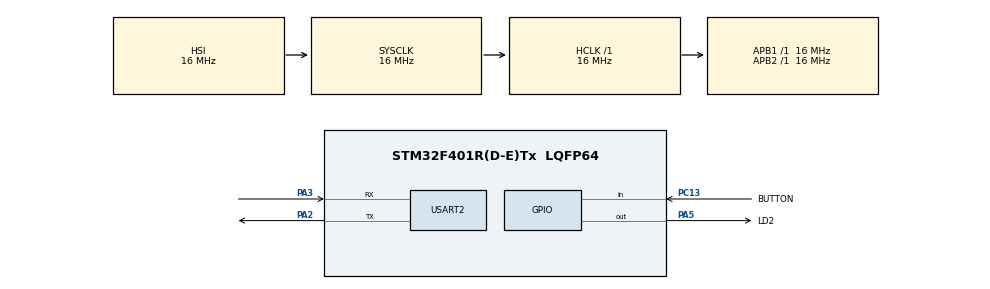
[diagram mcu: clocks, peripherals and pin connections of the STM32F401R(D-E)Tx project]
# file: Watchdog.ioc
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IWDG.Prescaler=IWDG_PRESCALER_32
Mcu.Family=STM32F4
Mcu.Name=STM32F401R(D-E)Tx
Mcu.Package=LQFP64
NVIC.PriorityGroup=NVIC_PRIORITYGROUP_4
PA13.Mode=Serial_Wire
PA13.Signal=SYS_JTMS-SWDIO
PA14.Mode=Serial_Wire
PA14.Signal=SYS_JTCK-SWCLK
PA2.Mode=Asynchronous
PA2.Signal=USART2_TX
PA3.Mode=Asynchronous
PA3.Signal=USART2_RX
PA5.GPIO_Label=LD2
PA5.Signal=GPIO_Output
PC13-ANTI_TAMP.GPIO_Label=BUTTON
PC13-ANTI_TAMP.Signal=GPIO_Input
PC14-OSC32_IN.Mode=LSE-External-Oscillator
PC14-OSC32_IN.Signal=RCC_OSC32_IN
PC15-OSC32_OUT.Mode=LSE-External-Oscillator
PC15-OSC32_OUT.Signal=RCC_OSC32_OUT
ProjectManager.HeapSize=0x200
ProjectManager.StackSize=0x400
ProjectManager.TargetToolchain=STM32CubeIDE
RCC.AHBFreq_Value=16000000
RCC.APB1Freq_Value=16000000
RCC.APB2Freq_Value=16000000
RCC.CortexFreq_Value=16000000
RCC.HSE_VALUE=25000000
RCC.HSI_VALUE=16000000
RCC.RCC_RTC_Clock_Source=RCC_RTCCLKSOURCE_LSE
RCC.SYSCLKFreq_VALUE=16000000
RCC.VCOOutputFreq_Value=192000000
USART2.VirtualMode=VM_ASYNC
VP_IWDG_VS_IWDG.Mode=IWDG_Activate
VP_RTC_VS_RTC_Activate.Mode=RTC_Enabled
board=custom

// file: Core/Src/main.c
/* USER CODE BEGIN Header */
/**
  ******************************************************************************
  * @file           : main.c
  * @brief          : Main program body
  ******************************************************************************
  * @attention
  *
  * Copyright (c) 2023 STMicroelectronics.
  * All rights reserved.
  *
  * This software is licensed under terms that can be found in the LICENSE file
  * in the root directory of this software component.
  * If no LICENSE file comes with this software, it is provided AS-IS.
  *
  ******************************************************************************
  */
/* USER CODE END Header */
#include "main.h"

/* USER CODE BEGIN Includes */
#include <stdio.h>
#include <string.h>
#include <stdbool.h>
/* USER CODE END Includes */

IWDG_HandleTypeDef hiwdg;

RTC_HandleTypeDef hrtc;

UART_HandleTypeDef huart2;

void SystemClock_Config(void);
static void MX_GPIO_Init(void);
static void MX_RTC_Init(void);
static void MX_IWDG_Init(void);
static void MX_USART2_UART_Init(void);

/* USER CODE BEGIN 0 */

bool is_button_pressed(void)
{
  if (HAL_GPIO_ReadPin(BUTTON_GPIO_Port, BUTTON_Pin) == GPIO_PIN_RESET) {
    return true;
  } else {
    return false;
  }
}
/* USER CODE END 0 */

int main(void)
{

  /* MCU Configuration--------------------------------------------------------*/

  /* Reset of all peripherals, Initializes the Flash interface and the Systick. */
  HAL_Init();

  /* Configure the system clock */
  SystemClock_Config();

  /* Initialize all configured peripherals */
  MX_GPIO_Init();
  MX_RTC_Init();
  MX_IWDG_Init();
  MX_USART2_UART_Init();
  /* USER CODE BEGIN 2 */

  HAL_StatusTypeDef HAL_IWDG_Refresh(IWDG_HandleTypeDef *hiwdg);
  int i;

  for (i = 0; i < 10; i++) {
    HAL_GPIO_TogglePin(LD2_GPIO_Port, LD2_Pin);
    HAL_Delay(100);
  }
  /* USER CODE END 2 */

  /* Infinite loop */
  /* USER CODE BEGIN WHILE */

  uint32_t last_ms = HAL_GetTick();

   while (1)
   {
 	  uint32_t now = HAL_GetTick();
 	  if (is_button_pressed()) {
 		  while (1) ;
 	  }

 	  if (now - last_ms >= 500) {
 		  HAL_GPIO_TogglePin(LD2_GPIO_Port, LD2_Pin);
 		  last_ms = now;

 		  HAL_IWDG_Refresh(&hiwdg);
 	  }

    /* USER CODE END WHILE */

  }
}

void SystemClock_Config(void)
{
  RCC_OscInitTypeDef RCC_OscInitStruct = {0};
  RCC_ClkInitTypeDef RCC_ClkInitStruct = {0};

  /** Configure the main internal regulator output voltage
  */
  __HAL_RCC_PWR_CLK_ENABLE();
  __HAL_PWR_VOLTAGESCALING_CONFIG(PWR_REGULATOR_VOLTAGE_SCALE2);
  /** Initializes the RCC Oscillators according to the specified parameters
  * in the RCC_OscInitTypeDef structure.
  */
  RCC_OscInitStruct.OscillatorType = RCC_OSCILLATORTYPE_HSI|RCC_OSCILLATORTYPE_LSI
                              |RCC_OSCILLATORTYPE_LSE;
  RCC_OscInitStruct.LSEState = RCC_LSE_ON;
  RCC_OscInitStruct.HSIState = RCC_HSI_ON;
  RCC_OscInitStruct.HSICalibrationValue = RCC_HSICALIBRATION_DEFAULT;
  RCC_OscInitStruct.LSIState = RCC_LSI_ON;
  RCC_OscInitStruct.PLL.PLLState = RCC_PLL_NONE;
  if (HAL_RCC_OscConfig(&RCC_OscInitStruct) != HAL_OK)
  {
    Error_Handler();
  }
  /** Initializes the CPU, AHB and APB buses clocks
  */
  RCC_ClkInitStruct.ClockType = RCC_CLOCKTYPE_HCLK|RCC_CLOCKTYPE_SYSCLK
                              |RCC_CLOCKTYPE_PCLK1|RCC_CLOCKTYPE_PCLK2;
  RCC_ClkInitStruct.SYSCLKSource = RCC_SYSCLKSOURCE_HSI;
  RCC_ClkInitStruct.AHBCLKDivider = RCC_SYSCLK_DIV1;
  RCC_ClkInitStruct.APB1CLKDivider = RCC_HCLK_DIV1;
  RCC_ClkInitStruct.APB2CLKDivider = RCC_HCLK_DIV1;

  if (HAL_RCC_ClockConfig(&RCC_ClkInitStruct, FLASH_LATENCY_0) != HAL_OK)
  {
    Error_Handler();
  }
}

static void MX_IWDG_Init(void)
{

  hiwdg.Instance = IWDG;
  hiwdg.Init.Prescaler = IWDG_PRESCALER_32;
  hiwdg.Init.Reload = 4095;
  if (HAL_IWDG_Init(&hiwdg) != HAL_OK)
  {
    Error_Handler();
  }

}

static void MX_RTC_Init(void)
{

  /** Initialize RTC Only
  */
  hrtc.Instance = RTC;
  hrtc.Init.HourFormat = RTC_HOURFORMAT_24;
  hrtc.Init.AsynchPrediv = 127;
  hrtc.Init.SynchPrediv = 255;
  hrtc.Init.OutPut = RTC_OUTPUT_DISABLE;
  hrtc.Init.OutPutPolarity = RTC_OUTPUT_POLARITY_HIGH;
  hrtc.Init.OutPutType = RTC_OUTPUT_TYPE_OPENDRAIN;
  if (HAL_RTC_Init(&hrtc) != HAL_OK)
  {
    Error_Handler();
  }

}

static void MX_USART2_UART_Init(void)
{

  huart2.Instance = USART2;
  huart2.Init.BaudRate = 115200;
  huart2.Init.WordLength = UART_WORDLENGTH_8B;
  huart2.Init.StopBits = UART_STOPBITS_1;
  huart2.Init.Parity = UART_PARITY_NONE;
  huart2.Init.Mode = UART_MODE_TX_RX;
  huart2.Init.HwFlowCtl = UART_HWCONTROL_NONE;
  huart2.Init.OverSampling = UART_OVERSAMPLING_16;
  if (HAL_UART_Init(&huart2) != HAL_OK)
  {
    Error_Handler();
  }

}

static void MX_GPIO_Init(void)
{
  GPIO_InitTypeDef GPIO_InitStruct = {0};

  /* GPIO Ports Clock Enable */
  __HAL_RCC_GPIOC_CLK_ENABLE();
  __HAL_RCC_GPIOA_CLK_ENABLE();

  /*Configure GPIO pin Output Level */
  HAL_GPIO_WritePin(LD2_GPIO_Port, LD2_Pin, GPIO_PIN_RESET);

  /*Configure GPIO pin : BUTTON_Pin */
  GPIO_InitStruct.Pin = BUTTON_Pin;
  GPIO_InitStruct.Mode = GPIO_MODE_INPUT;
  GPIO_InitStruct.Pull = GPIO_NOPULL;
  HAL_GPIO_Init(BUTTON_GPIO_Port, &GPIO_InitStruct);

  /*Configure GPIO pin : LD2_Pin */
  GPIO_InitStruct.Pin = LD2_Pin;
  GPIO_InitStruct.Mode = GPIO_MODE_OUTPUT_PP;
  GPIO_InitStruct.Pull = GPIO_NOPULL;
  GPIO_InitStruct.Speed = GPIO_SPEED_FREQ_LOW;
  HAL_GPIO_Init(LD2_GPIO_Port, &GPIO_InitStruct);

}

void Error_Handler(void)
{
  __disable_irq();
  while (1)
  {
  }
}
